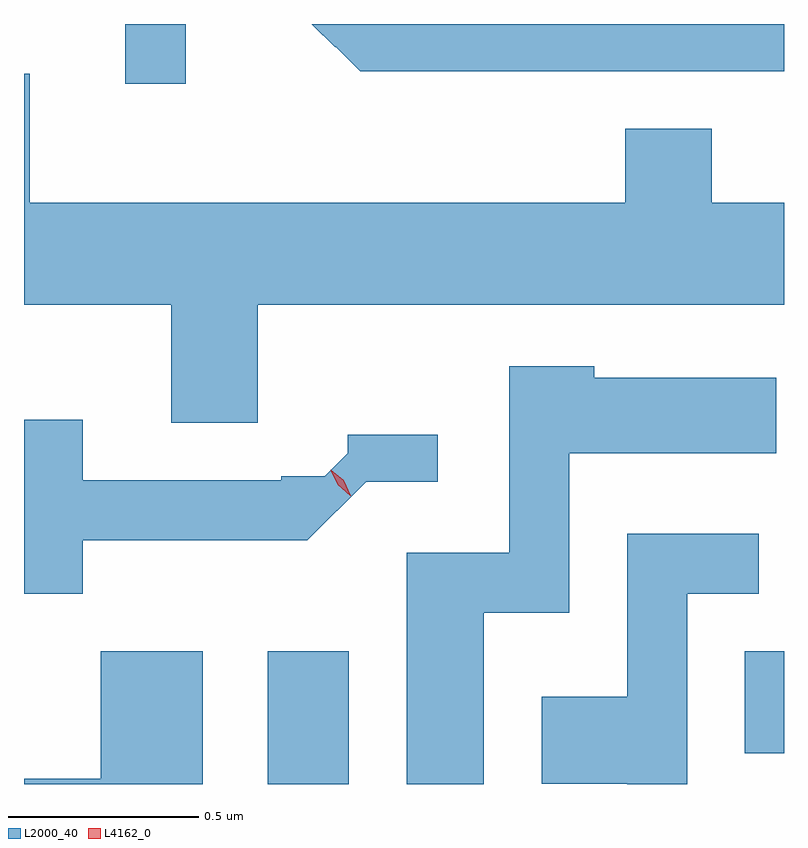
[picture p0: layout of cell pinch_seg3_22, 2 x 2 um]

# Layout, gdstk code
import gdstk
lib = gdstk.Library(unit=1e-6, precision=1e-09)
def R(c, l, rs):  # rectangles x0, y0, x1, y1
    for r in rs: c.add(gdstk.rectangle(r[:2], r[2:], *l))
def P(c, l, *ps):  # polygons
    for p in ps: c.add(gdstk.Polygon(p, *l))
L2000_40 = (2000, 40)
L4162_0 = (4162, 0)

pinch_seg3_22 = lib.new_cell('pinch_seg3_22')
R(pinch_seg3_22, L2000_40, [(826.906,1166.935,827.119,1167.284), (828.161,1167.016,828.264,1167.284), (826.531,1168.778,826.689,1168.935)])
P(pinch_seg3_22, L2000_40, [(828.264,1168.935),(827.021,1168.935),(827.083,1168.874),(827.085,1168.875),(827.149,1168.811),(828.264,1168.811)],
  [(826.879,1168.196),(828.264,1168.196),(828.264,1168.464),(828.074,1168.464),(828.074,1168.659),(827.846,1168.659),(827.846,1168.464),(826.279,1168.464),(826.279,1168.804),(826.264,1168.804),(826.264,1168.196),(826.651,1168.196),(826.651,1167.886),(826.879,1167.886)],
  [(827.474,1167.386),(827.699,1167.386),(827.699,1167.806),(828.244,1167.806),(828.244,1168.004),(827.764,1168.004),(827.764,1168.034),(827.541,1168.034),(827.541,1167.544),(827.271,1167.544),(827.271,1166.935),(827.474,1166.935)],
  [(826.419,1167.576),(827.01,1167.576),(827.165,1167.731),(827.353,1167.731),(827.353,1167.854),(827.116,1167.854),(827.116,1167.805),(827.056,1167.745),(826.941,1167.745),(826.941,1167.734),(826.419,1167.734),(826.419,1167.894),(826.264,1167.894),(826.264,1167.436),(826.419,1167.436)],
  [(828.009,1167.436),(828.198,1167.436),(828.198,1167.594),(827.851,1167.594),(827.851,1167.164),(827.626,1167.164),(827.626,1166.936),(827.851,1166.936),(827.851,1166.935),(828.009,1166.935)],
  [(826.734,1167.284),(826.466,1167.284),(826.466,1166.949),(826.264,1166.949),(826.264,1166.935),(826.734,1166.935)])
P(pinch_seg3_22, L4162_0, [(827.123,1167.694),(827.09,1167.722),(827.071,1167.761),(827.071,1167.762),(827.071,1167.762),(827.105,1167.734),(827.124,1167.694),(827.124,1167.694)],
  [(827.119,1167.698),(827.09,1167.722),(827.075,1167.756),(827.075,1167.757),(827.076,1167.757),(827.105,1167.734),(827.119,1167.699),(827.119,1167.698)])

lib.write_gds('pinch_seg3_22.gds')
